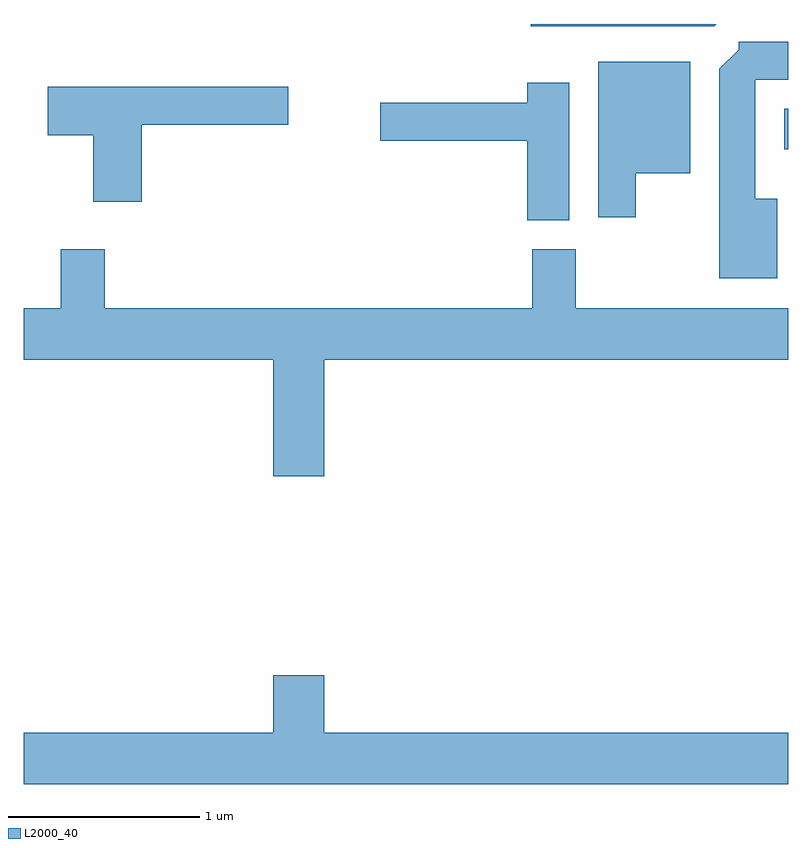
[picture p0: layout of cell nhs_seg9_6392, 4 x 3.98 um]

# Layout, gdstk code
import gdstk
lib = gdstk.Library(unit=1e-6, precision=1e-09)
def R(c, l, rs):  # rectangles x0, y0, x1, y1
    for r in rs: c.add(gdstk.rectangle(r[:2], r[2:], *l))
def P(c, l, *ps):  # polygons
    for p in ps: c.add(gdstk.Polygon(p, *l))
L2000_40 = (2000, 40)

nhs_seg9_6392 = lib.new_cell('nhs_seg9_6392')
R(nhs_seg9_6392, L2000_40, [(377.591,2021.776,377.611,2021.989)])
P(nhs_seg9_6392, L2000_40, [(377.235,2022.432),(376.263,2022.432),(376.263,2022.421),(377.224,2022.421)],
  [(377.554,2021.519),(377.439,2021.519),(377.439,2022.141),(377.611,2022.141),(377.611,2022.339),(377.351,2022.339),(377.351,2022.297),(377.251,2022.197),(377.251,2021.101),(377.554,2021.101)],
  [(376.814,2021.651),(377.099,2021.651),(377.099,2022.234),(376.616,2022.234),(376.616,2021.421),(376.814,2021.421)],
  [(376.464,2022.124),(376.246,2022.124),(376.246,2022.019),(375.476,2022.019),(375.476,2021.821),(376.246,2021.821),(376.246,2021.406),(376.464,2021.406)],
  [(374.229,2021.906),(374.994,2021.906),(374.994,2022.104),(373.736,2022.104),(373.736,2021.851),(373.976,2021.851),(373.976,2021.501),(374.229,2021.501)],
  [(375.184,2020.676),(377.611,2020.676),(377.611,2020.944),(376.499,2020.944),(376.499,2021.254),(376.271,2021.254),(376.271,2020.944),(374.034,2020.944),(374.034,2021.254),(373.806,2021.254),(373.806,2020.944),(373.611,2020.944),(373.611,2020.676),(374.916,2020.676),(374.916,2020.066),(375.184,2020.066)],
  [(377.611,2018.724),(375.184,2018.724),(375.184,2019.024),(374.916,2019.024),(374.916,2018.724),(373.611,2018.724),(373.611,2018.456),(377.611,2018.456)])

lib.write_gds('nhs_seg9_6392.gds')
